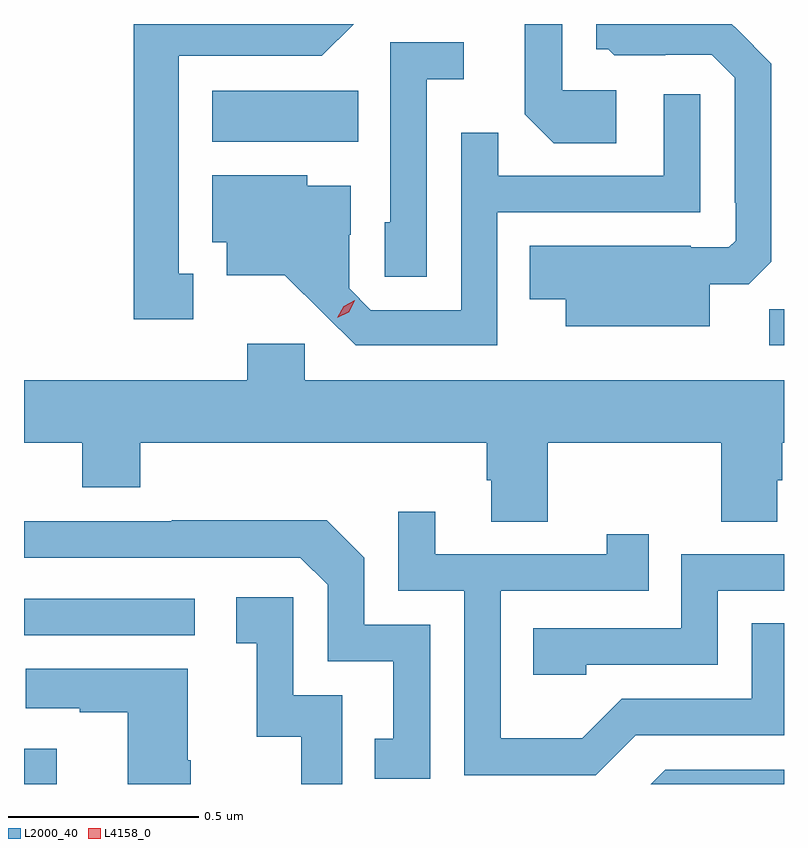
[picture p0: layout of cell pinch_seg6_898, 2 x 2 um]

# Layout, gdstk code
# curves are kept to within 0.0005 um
import gdstk
lib = gdstk.Library(unit=1e-6, precision=1e-09)
def R(c, l, rs):  # rectangles x0, y0, x1, y1
    for r in rs: c.add(gdstk.rectangle(r[:2], r[2:], *l))
def P(c, l, *ps):  # polygons
    for p in ps: c.add(gdstk.Polygon(p, *l))
L2000_40 = (2000, 40)
L4158_0 = (4158, 0)

pinch_seg6_898 = lib.new_cell('pinch_seg6_898')
R(pinch_seg6_898, L2000_40, [(123.779,985.066,123.865,985.159), (123.779,985.458,124.228,985.554), (125.74,986.22,125.779,986.315), (124.274,986.756,124.658,986.89)])
P(pinch_seg6_898, L2000_40, [(125.584,986.381),(125.686,986.381),(125.745,986.44),(125.745,986.962),(125.642,987.066),(125.285,987.066),(125.285,987),(125.316,987),(125.332,986.984),(125.466,986.984),(125.466,986.985),(125.589,986.985),(125.649,986.925),(125.649,986.596),(125.652,986.596),(125.652,986.496),(125.634,986.478),(125.534,986.478),(125.534,986.482),(125.11,986.482),(125.11,986.342),(125.204,986.342),(125.204,986.27),(125.584,986.27)],
  [(125.338,986.892),(125.196,986.892),(125.196,987.066),(125.097,987.066),(125.097,986.828),(125.173,986.752),(125.338,986.752)],
  [(124.225,986.409),(124.186,986.409),(124.186,986.982),(124.563,986.982),(124.647,987.066),(124.068,987.066),(124.068,986.289),(124.225,986.289)],
  [(124.839,986.921),(124.936,986.921),(124.936,987.018),(124.743,987.018),(124.743,986.544),(124.728,986.544),(124.728,986.401),(124.839,986.401)],
  [(125.025,986.571),(125.559,986.571),(125.559,986.881),(125.463,986.881),(125.463,986.667),(125.027,986.667),(125.027,986.78),(124.929,986.78),(124.929,986.313),(124.692,986.313),(124.635,986.37),(124.635,986.512),(124.639,986.512),(124.639,986.641),(124.524,986.641),(124.524,986.668),(124.274,986.668),(124.274,986.492),(124.313,986.492),(124.313,986.405),(124.465,986.405),(124.652,986.22),(125.025,986.22)],
  [(125.157,985.964),(125.614,985.964),(125.614,985.756),(125.761,985.756),(125.761,985.866),(125.774,985.866),(125.774,985.964),(125.779,985.964),(125.779,986.128),(124.518,986.128),(124.518,986.224),(124.367,986.224),(124.367,986.128),(123.779,986.128),(123.779,985.964),(123.932,985.964),(123.932,985.847),(124.085,985.847),(124.085,985.964),(124.997,985.964),(124.997,985.866),(125.009,985.866),(125.009,985.756),(125.157,985.756)],
  [(125.389,985.194),(125.779,985.194),(125.779,985.489),(125.694,985.489),(125.694,985.29),(125.352,985.29),(125.248,985.186),(125.034,985.186),(125.034,985.575),(125.423,985.575),(125.423,985.723),(125.312,985.723),(125.312,985.671),(124.861,985.671),(124.861,985.783),(124.764,985.783),(124.764,985.575),(124.938,985.575),(124.938,985.089),(125.284,985.089)],
  [(124.848,985.485),(124.674,985.485),(124.674,985.662),(124.576,985.76),(124.168,985.76),(124.168,985.758),(123.779,985.758),(123.779,985.662),(124.506,985.662),(124.578,985.59),(124.578,985.389),(124.751,985.389),(124.751,985.185),(124.702,985.185),(124.702,985.08),(124.848,985.08)],
  [(125.259,985.38),(125.604,985.38),(125.604,985.575),(125.779,985.575),(125.779,985.671),(125.508,985.671),(125.508,985.476),(125.119,985.476),(125.119,985.353),(125.259,985.353)],
  [(124.617,985.299),(124.488,985.299),(124.488,985.558),(124.338,985.558),(124.338,985.437),(124.391,985.437),(124.391,985.191),(124.509,985.191),(124.509,985.066),(124.617,985.066)],
  [(124.218,985.129),(124.21,985.129),(124.21,985.369),(123.783,985.369),(123.783,985.265),(123.926,985.265),(123.926,985.255),(124.052,985.255),(124.052,985.066),(124.218,985.066)],
  [(125.779,985.104),(125.466,985.104),(125.428,985.066),(125.779,985.066)])
P(pinch_seg6_898, L4158_0, [(124.603,986.293),(124.603,986.293),(124.62,986.323),(124.65,986.339),(124.65,986.339),(124.65,986.338),(124.634,986.308),(124.603,986.293)])

lib.write_gds('pinch_seg6_898.gds')
